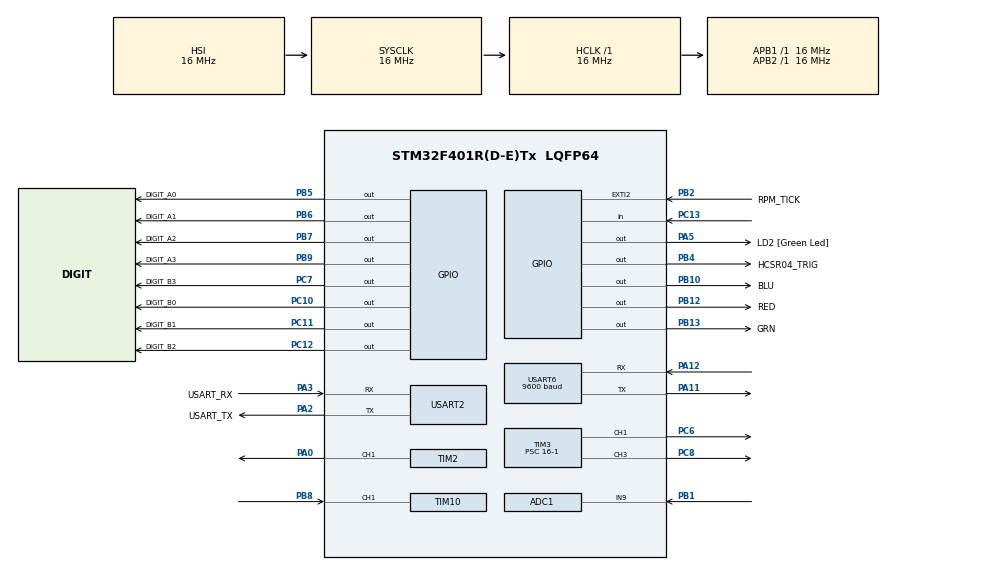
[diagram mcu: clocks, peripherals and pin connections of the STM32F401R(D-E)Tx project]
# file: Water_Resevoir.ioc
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ADC1.Channel-0\#ChannelRegularConversion=ADC_CHANNEL_9
ADC1.NbrOfConversionFlag=1
ADC1.Rank-0\#ChannelRegularConversion=1
ADC1.Resolution=ADC_RESOLUTION_8B
ADC1.SamplingTime-0\#ChannelRegularConversion=ADC_SAMPLETIME_15CYCLES
ADC1.ScanConvMode=ENABLE
ADC1.master=1
Mcu.Family=STM32F4
Mcu.Name=STM32F401R(D-E)Tx
Mcu.Package=LQFP64
NVIC.EXTI2_IRQn=true\:0\:0\:false\:false\:true\:true\:true\:true
NVIC.PriorityGroup=NVIC_PRIORITYGROUP_0
NVIC.TIM1_UP_TIM10_IRQn=true\:0\:0\:false\:false\:true\:true\:true\:true
NVIC.TIM5_IRQn=true\:0\:0\:false\:false\:true\:true\:true\:true
NVIC.USART6_IRQn=true\:0\:0\:false\:false\:true\:true\:true\:true
PA0-WKUP.Signal=S_TIM2_CH1_ETR
PA11.Mode=Asynchronous
PA11.Signal=USART6_TX
PA12.Mode=Asynchronous
PA12.Signal=USART6_RX
PA13.GPIO_Label=TMS
PA13.Mode=Serial_Wire
PA13.Signal=SYS_JTMS-SWDIO
PA14.GPIO_Label=TCK
PA14.Mode=Serial_Wire
PA14.Signal=SYS_JTCK-SWCLK
PA2.GPIO_Label=USART_TX
PA2.GPIO_Mode=GPIO_MODE_AF_PP
PA2.GPIO_PuPd=GPIO_NOPULL
PA2.GPIO_Speed=GPIO_SPEED_FREQ_LOW
PA2.Mode=Asynchronous
PA2.Signal=USART2_TX
PA3.GPIO_Label=USART_RX
PA3.GPIO_Mode=GPIO_MODE_AF_PP
PA3.GPIO_PuPd=GPIO_NOPULL
PA3.GPIO_Speed=GPIO_SPEED_FREQ_LOW
PA3.Mode=Asynchronous
PA3.Signal=USART2_RX
PA5.GPIO_Label=LD2 [Green Led]
PA5.GPIO_Mode=GPIO_MODE_OUTPUT_PP
PA5.GPIO_PuPd=GPIO_NOPULL
PA5.GPIO_Speed=GPIO_SPEED_FREQ_LOW
PA5.Signal=GPIO_Output
PB1.Signal=ADCx_IN9
PB10.GPIO_Label=BLU
PB10.Signal=GPIO_Output
PB12.GPIO_Label=RED
PB12.Signal=GPIO_Output
PB13.GPIO_Label=GRN
PB13.Signal=GPIO_Output
PB2.GPIO_Label=RPM_TICK
PB2.Signal=GPXTI2
PB3.GPIO_Label=SWO
PB3.Signal=SYS_JTDO-SWO
PB4.GPIO_Label=HCSR04_TRIG
PB4.Signal=GPIO_Output
PB5.GPIO_Label=DIGIT_A0
PB5.Signal=GPIO_Output
PB6.GPIO_Label=DIGIT_A1
PB6.Signal=GPIO_Output
PB7.GPIO_Label=DIGIT_A2
PB7.Signal=GPIO_Output
PB8.Signal=S_TIM10_CH1
PB9.GPIO_Label=DIGIT_A3
PB9.Signal=GPIO_Output
PC10.GPIO_Label=DIGIT_B0
PC10.Signal=GPIO_Output
PC11.GPIO_Label=DIGIT_B1
PC11.Signal=GPIO_Output
PC12.GPIO_Label=DIGIT_B2
PC12.Signal=GPIO_Output
PC13-ANTI_TAMP.Signal=GPIO_Input
PC14-OSC32_IN.Mode=LSE-External-Oscillator
PC14-OSC32_IN.Signal=RCC_OSC32_IN
PC15-OSC32_OUT.Mode=LSE-External-Oscillator
PC15-OSC32_OUT.Signal=RCC_OSC32_OUT
PC6.Signal=S_TIM3_CH1
PC7.GPIO_Label=DIGIT_B3
PC7.Signal=GPIO_Output
PC8.Signal=S_TIM3_CH3
PH0\ -\ OSC_IN.Mode=HSE-External-Clock-Source
PH0\ -\ OSC_IN.Signal=RCC_OSC_IN
PH1\ -\ OSC_OUT.Mode=HSE-External-Clock-Source
PH1\ -\ OSC_OUT.Signal=RCC_OSC_OUT
ProjectManager.HeapSize=0x200
ProjectManager.StackSize=0x400
ProjectManager.TargetToolchain=STM32CubeIDE
RCC.48MHZClocksFreq_Value=48000000
RCC.AHBFreq_Value=16000000
RCC.APB1Freq_Value=16000000
RCC.APB1TimFreq_Value=16000000
RCC.APB2Freq_Value=16000000
RCC.APB2TimFreq_Value=16000000
RCC.CortexFreq_Value=16000000
RCC.HCLKFreq_Value=16000000
RCC.HSE_VALUE=8000000
RCC.HSI_VALUE=16000000
RCC.PLLN=336
RCC.PLLP=RCC_PLLP_DIV4
RCC.PLLQ=7
RCC.SYSCLKFreq_VALUE=16000000
RCC.VCOOutputFreq_Value=336000000
SH.ADCx_IN9.0=ADC1_IN9,IN9
SH.S_TIM10_CH1.0=TIM10_CH1,Input_Capture1_from_TI1
SH.S_TIM2_CH1_ETR.0=TIM2_CH1,PWM Generation1 CH1
SH.S_TIM3_CH1.0=TIM3_CH1,PWM Generation1 CH1
SH.S_TIM3_CH3.0=TIM3_CH3,PWM Generation3 CH3
TIM10.Channel=TIM_CHANNEL_1
TIM10.ICPolarity_CH1=TIM_INPUTCHANNELPOLARITY_BOTHEDGE
TIM10.Prescaler=16-1
TIM2.AutoReloadPreload=TIM_AUTORELOAD_PRELOAD_ENABLE
TIM2.Channel-PWM\ Generation1\ CH1=TIM_CHANNEL_1
TIM2.Period=20000-1
TIM2.Prescaler=16-1
TIM2.Pulse-PWM\ Generation1\ CH1=500-1
TIM3.AutoReloadPreload=TIM_AUTORELOAD_PRELOAD_ENABLE
TIM3.Channel-PWM\ Generation1\ CH1=TIM_CHANNEL_1
TIM3.Channel-PWM\ Generation3\ CH3=TIM_CHANNEL_3
TIM3.Period=2000-1
TIM3.Prescaler=16-1
TIM3.Pulse-PWM\ Generation1\ CH1=1200-1
TIM5.AutoReloadPreload=TIM_AUTORELOAD_PRELOAD_ENABLE
TIM5.Period=1000-1
TIM5.Prescaler=53
USART2.VirtualMode=VM_ASYNC
USART6.BaudRate=9600
USART6.VirtualMode=VM_ASYNC
VP_TIM10_VS_ClockSourceINT.Mode=Enable_Timer
VP_TIM2_VS_ClockSourceINT.Mode=Internal
VP_TIM3_VS_ClockSourceINT.Mode=Internal
VP_TIM5_VS_ClockSourceINT.Mode=Internal
board=NUCLEO-F401RE

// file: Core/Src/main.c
/* USER CODE BEGIN Header */
/**
  ******************************************************************************
  * @file           : main.c
  * @brief          : Main program body
  ******************************************************************************
  * @attention
  *
  * Copyright (c) 2024 STMicroelectronics.
  * All rights reserved.
  *
  * This software is licensed under terms that can be found in the LICENSE file
  * in the root directory of this software component.
  * If no LICENSE file comes with this software, it is provided AS-IS.
  *
  ******************************************************************************
  */
/* USER CODE END Header */
#include "main.h"

/* USER CODE BEGIN Includes */
#include <string.h>
#include <stdio.h>
/* USER CODE END Includes */

/* USER CODE BEGIN PTD */
typedef enum {
    LED_OFF,
    LED_RED,
    LED_GREEN,
    LED_BLUE,
    LED_PURPLE
} LED_State;
/* USER CODE END PTD */

/* USER CODE BEGIN PD */
#define BUFFER_SIZE 512
#define TICKS_PER_REV 20
uint8_t byte;
/* USER CODE END PD */

ADC_HandleTypeDef hadc1;

TIM_HandleTypeDef htim2;
TIM_HandleTypeDef htim3;
TIM_HandleTypeDef htim5;
TIM_HandleTypeDef htim10;

UART_HandleTypeDef huart2;
UART_HandleTypeDef huart6;

/* USER CODE BEGIN PV */
char buffer[BUFFER_SIZE];
volatile int buffer_index = 0;
volatile uint8_t rcv_intpt_flag = 0;
uint8_t txd_msg_buffer[1024] = {0};
uint8_t rx_data;
volatile int wall_clock_hr_update_flag = 0;
volatile int rpm_tick_count = 0;

volatile int inlet_pwm, zone1_pwm, zone2_pwm, zone3_pwm;
volatile int inlet_start, inlet_stop, zone1_start, zone1_stop, zone2_start, zone2_stop, zone3_start, zone3_stop;
volatile int check_water_level = 0;
int current_water_level, current_motor_pwm, current_zone, current_motor_rpm, current_water_depth;

volatile uint8_t clock_hours = 0;
volatile uint8_t clock_mins = 0;
volatile uint8_t clock_secs = 0;

volatile uint8_t hcsr04_Rx_flag = 0;
volatile uint8_t first_edge = 0;
volatile uint16_t time_edge1 = 0;
volatile uint16_t time_edge2 = 0;
/* USER CODE END PV */

void SystemClock_Config(void);
static void MX_GPIO_Init(void);
static void MX_USART2_UART_Init(void);
static void MX_USART6_UART_Init(void);
static void MX_ADC1_Init(void);
static void MX_TIM2_Init(void);
static void MX_TIM3_Init(void);
static void MX_TIM10_Init(void);
static void MX_TIM5_Init(void);

/* USER CODE BEGIN 0 */
void DIGITS_Display(uint8_t DIGIT_A, uint8_t DIGIT_B)
{
	 uint8_t DIGITA_VAL = 0x0F & DIGIT_A; //mask off higher4 bits
	 int Abit0 = (DIGITA_VAL ) & 1;  	// extract Abit0 of the 4-bit value
	 int Abit1 = (DIGITA_VAL >> 1) & 1;  // extract Abit1 of the 4-bit value
	 int Abit2 = (DIGITA_VAL >> 2) & 1;  // extract Abit2 of the 4-bit value
	 int Abit3 = (DIGITA_VAL >> 3) & 1;  // extract Abit3 of the 4-bit value

	 uint8_t DIGITB_VAL = 0x0F & DIGIT_B; //mask off higher4 bits
	 int Bbit0 = (DIGITB_VAL ) & 1;  	// extract Bbit0 of the 4-bit value
	 int Bbit1 = (DIGITB_VAL >> 1) & 1;  // extract Bbit1 of the 4-bit value
	 int Bbit2 = (DIGITB_VAL >> 2) & 1;  // extract Bbit2 of the 4-bit value
	 int Bbit3 = (DIGITB_VAL >> 3) & 1;  // extract Bbit3 of the 4-bit value

	 if (Abit0 == (0))
	 {
		 HAL_GPIO_WritePin(GPIOB, DIGIT_A0_Pin, GPIO_PIN_RESET);
	 }
	 else
	 {
		 HAL_GPIO_WritePin(GPIOB, DIGIT_A0_Pin, GPIO_PIN_SET);

	 }
	 if (Abit1 == (0))
	 {
		 HAL_GPIO_WritePin(GPIOB, DIGIT_A1_Pin, GPIO_PIN_RESET);
	 }
	 else
	 {
		 HAL_GPIO_WritePin(GPIOB, DIGIT_A1_Pin, GPIO_PIN_SET);

	 }
	 if (Abit2 == (0))
	 {
		 HAL_GPIO_WritePin(GPIOB, DIGIT_A2_Pin, GPIO_PIN_RESET);
	 }
	 else
	 {
		 HAL_GPIO_WritePin(GPIOB, DIGIT_A2_Pin, GPIO_PIN_SET);

	 }
	 if (Abit3 == (0))
	 {
		 HAL_GPIO_WritePin(GPIOB, DIGIT_A3_Pin, GPIO_PIN_RESET);
	 }
	 else
	 {
		 HAL_GPIO_WritePin(GPIOB, DIGIT_A3_Pin, GPIO_PIN_SET);

	 }

	 if (Bbit0 == (0))
	 {
		 HAL_GPIO_WritePin(GPIOC, DIGIT_B0_Pin, GPIO_PIN_RESET);
	 }
	 else
	 {
		 HAL_GPIO_WritePin(GPIOC, DIGIT_B0_Pin, GPIO_PIN_SET);

	 }
	 if (Bbit1 == (0))
	 {
		 HAL_GPIO_WritePin(GPIOC, DIGIT_B1_Pin, GPIO_PIN_RESET);
	 }
	 else
	 {
		 HAL_GPIO_WritePin(GPIOC, DIGIT_B1_Pin, GPIO_PIN_SET);

	 }
	 if (Bbit2 == (0))
	 {
		 HAL_GPIO_WritePin(GPIOC, DIGIT_B2_Pin, GPIO_PIN_RESET);
	 }
	 else
	 {
		 HAL_GPIO_WritePin(GPIOC, DIGIT_B2_Pin, GPIO_PIN_SET);

	 }
	 if (Bbit3 == (0))
	 {
		 HAL_GPIO_WritePin(GPIOC, DIGIT_B3_Pin, GPIO_PIN_RESET);
	 }
	 else
	 {
		 HAL_GPIO_WritePin(GPIOC, DIGIT_B3_Pin, GPIO_PIN_SET);

	 }
}

void HCSR04_TRIG_PULSE(void) {
	HAL_GPIO_WritePin(HCSR04_TRIG_GPIO_Port, HCSR04_TRIG_Pin, GPIO_PIN_SET);
	for (int j = 0; j != 15; ++j) {};
	HAL_GPIO_WritePin(HCSR04_TRIG_GPIO_Port, HCSR04_TRIG_Pin, GPIO_PIN_RESET);
}

void prompt_and_receive(const char *prompt, volatile int *value) {
  HAL_UART_Transmit(&huart6, (uint8_t *)prompt, strlen(prompt), HAL_MAX_DELAY);
  rcv_intpt_flag = 0;
  while (!rcv_intpt_flag); // Wait for input
  sscanf(buffer, "%d", value); // load value with the inputed characters
}

void print_terminal(char *text) {
	sprintf((char *) txd_msg_buffer, text);
    HAL_UART_Transmit(&huart6, txd_msg_buffer, strlen((char *)txd_msg_buffer), 100);
}

void display_water_level(int level) {
	int tens = level / 10;
	int ones = level % 10;

	DIGITS_Display(tens, ones);
}

void convert_option_to_pwm(int *pipe) {
	if (*pipe == 0) {
		*pipe = 0;
	} else if (*pipe == 1) {
		*pipe = 70;
	} else if (*pipe == 2) {
		*pipe = 85;
	} else if (*pipe == 3) {
		*pipe = 99;
	}
}

void setLEDState(LED_State state) {
    // Turn off all LEDs first
    HAL_GPIO_WritePin(GPIOB, RED_Pin, GPIO_PIN_RESET);  // RED
    HAL_GPIO_WritePin(GPIOB, GRN_Pin, GPIO_PIN_RESET);  // GRN
    HAL_GPIO_WritePin(GPIOB, BLU_Pin, GPIO_PIN_RESET);  // BLU

    // Set the desired state
    switch (state) {
        case LED_OFF:
            break;
        case LED_RED:
            HAL_GPIO_WritePin(GPIOB, RED_Pin, GPIO_PIN_SET);  // RED on
            break;
        case LED_GREEN:
            HAL_GPIO_WritePin(GPIOB, GRN_Pin, GPIO_PIN_SET);  // GREEN on
            break;
        case LED_BLUE:
            HAL_GPIO_WritePin(GPIOB, BLU_Pin, GPIO_PIN_SET);  // BLUE on
            break;
        case LED_PURPLE:
            HAL_GPIO_WritePin(GPIOB, RED_Pin, GPIO_PIN_SET);  // RED on
            HAL_GPIO_WritePin(GPIOB, BLU_Pin, GPIO_PIN_SET);  // BLUE on
            break;
        default:
            break;
    }
}

void ADC_Select_CH(int CH) {
	ADC_ChannelConfTypeDef sConfig = {0};
	switch(CH)
	{
	case 0:
	sConfig.Channel = ADC_CHANNEL_0;
	sConfig.Rank = 1;
	if (HAL_ADC_ConfigChannel(&hadc1, &sConfig) != HAL_OK)
	{
	Error_Handler();
	}
	break;
	case 1:
	sConfig.Channel = ADC_CHANNEL_1;
	sConfig.Rank = 1;
	if (HAL_ADC_ConfigChannel(&hadc1, &sConfig) != HAL_OK)
	{
	Error_Handler();
	}
	break;
	case 2:
	sConfig.Channel = ADC_CHANNEL_2;
	sConfig.Rank = 1;
	if (HAL_ADC_ConfigChannel(&hadc1, &sConfig) != HAL_OK)
	{
	Error_Handler();
	}
	break;
	case 3:
	sConfig.Channel = ADC_CHANNEL_3;
	sConfig.Rank = 1;
	if (HAL_ADC_ConfigChannel(&hadc1, &sConfig) != HAL_OK)
	{
	Error_Handler();
	}
	break;
	case 4:
	sConfig.Channel = ADC_CHANNEL_4;
	sConfig.Rank = 1;
	if (HAL_ADC_ConfigChannel(&hadc1, &sConfig) != HAL_OK)
	{
	Error_Handler();
	}
	break;
	case 5:
	sConfig.Channel = ADC_CHANNEL_5;
	sConfig.Rank = 1;
	if (HAL_ADC_ConfigChannel(&hadc1, &sConfig) != HAL_OK)
	{
	Error_Handler();
	}
	break;
	case 6:
	sConfig.Channel = ADC_CHANNEL_6;
	sConfig.Rank = 1;
	if (HAL_ADC_ConfigChannel(&hadc1, &sConfig) != HAL_OK)
	{
	Error_Handler();
	}
	break;
	case 7:
	sConfig.Channel = ADC_CHANNEL_7;
	sConfig.Rank = 1;
	if (HAL_ADC_ConfigChannel(&hadc1, &sConfig) != HAL_OK)
	{
	Error_Handler();
	}
	break;
	case 8:
	sConfig.Channel = ADC_CHANNEL_8;
	sConfig.Rank = 1;
	if (HAL_ADC_ConfigChannel(&hadc1, &sConfig) != HAL_OK)
	{
	Error_Handler();
	}
	break;
	case 9:
	sConfig.Channel = ADC_CHANNEL_9;
	sConfig.Rank = 1;
	if (HAL_ADC_ConfigChannel(&hadc1, &sConfig) != HAL_OK)
	{
	Error_Handler();
	}
	break;
	case 10:
	sConfig.Channel = ADC_CHANNEL_10;
	sConfig.Rank = 1;
	if (HAL_ADC_ConfigChannel(&hadc1, &sConfig) != HAL_OK)
	{
	Error_Handler();
	}
	break;
	case 11:
	sConfig.Channel = ADC_CHANNEL_11;
	sConfig.Rank = 1;
	if (HAL_ADC_ConfigChannel(&hadc1, &sConfig) != HAL_OK)
	{
	Error_Handler();
	}
	break;
	case 12:
	sConfig.Channel = ADC_CHANNEL_12;
	sConfig.Rank = 1;
	if (HAL_ADC_ConfigChannel(&hadc1, &sConfig) != HAL_OK)
	{
	Error_Handler();
	}
	break;
	case 13:
	sConfig.Channel = ADC_CHANNEL_13;
	sConfig.Rank = 1;
	if (HAL_ADC_ConfigChannel(&hadc1, &sConfig) != HAL_OK)
	{
	Error_Handler();
	}
	break;
	case 14:
	sConfig.Channel = ADC_CHANNEL_14;
	sConfig.Rank = 1;
	if (HAL_ADC_ConfigChannel(&hadc1, &sConfig) != HAL_OK)
	{
	Error_Handler();
	}
	break;
	case 15:
	sConfig.Channel = ADC_CHANNEL_15;
	sConfig.Rank = 1;
	if (HAL_ADC_ConfigChannel(&hadc1, &sConfig) != HAL_OK)
	{
	Error_Handler();
	}
	break;
	}
}
/* USER CODE END 0 */

int main(void)
{

  /* USER CODE BEGIN 1 */
	// Servo
	int TIM2_Ch1_DCVAL = 500;
	int TIM2_Ch1_STEP = 20;
  /* USER CODE END 1 */

  /* MCU Configuration--------------------------------------------------------*/

  /* Reset of all peripherals, Initializes the Flash interface and the Systick. */
  HAL_Init();

  /* Configure the system clock */
  SystemClock_Config();

  /* Initialize all configured peripherals */
  MX_GPIO_Init();
  MX_USART2_UART_Init();
  MX_USART6_UART_Init();
  MX_ADC1_Init();
  MX_TIM2_Init();
  MX_TIM3_Init();
  MX_TIM10_Init();
  MX_TIM5_Init();
  /* USER CODE BEGIN 2 */
  HAL_TIM_Base_Init(&htim3);
  HAL_TIM_PWM_Start(&htim3, TIM_CHANNEL_1);
  HAL_TIM_PWM_Start(&htim3, TIM_CHANNEL_3);
  HAL_TIM_Base_Start(&htim2);
  TIM2->PSC = 16-1;
  TIM2->ARR = 20000-1;
  TIM2->CCR1 = TIM2_Ch1_DCVAL;
  HAL_TIM_PWM_Start(&htim2, TIM_CHANNEL_1);
  HAL_TIM_Base_Init(&htim10);
  HAL_TIM_Base_Start(&htim10);
  HAL_TIM_IC_Start_IT(&htim10, TIM_CHANNEL_1);
  HAL_TIM_Base_Start_IT(&htim5);

  // HCSR04
  uint16_t time_diff = 0;
  uint16_t distance = 0;
  uint16_t empty_distance = 10; // cm
  uint16_t full_distance = 50; // cm
  int empty = 0;

  int pump_not_running = 0;

  // Setup mode operations
  HAL_GPIO_WritePin(GPIOA, LD2_Pin, GPIO_PIN_RESET);
  TIM3->CCR1 = 0;
  TIM3->CCR3 = 0;

  // Clear terminal
  print_terminal("\033[2J\033[H");

  print_terminal("SETUP MODE \r\n");

  HAL_UART_Receive_IT(&huart6, &rx_data, 1);
  prompt_and_receive("Inlet Pump PWM (options: 0 to 3): ", &inlet_pwm);
  prompt_and_receive("Pump 1 PWM (options: 0 to 3): ", &zone1_pwm);
  prompt_and_receive("Pump 2 PWM (options: 0 to 3): ", &zone2_pwm);
  prompt_and_receive("Pump 3 PWM (options: 0 to 3): ", &zone3_pwm);
  prompt_and_receive("Pipeline 0  Pump FIRST HOUR (options: 00-23): ", &inlet_start);
  prompt_and_receive("Pipeline 0  Pump LAST HOUR (options: 00-23): ", &inlet_stop);
  prompt_and_receive("Pipeline 1  Pump FIRST HOUR (options: 00-23): ", &zone1_start);
  prompt_and_receive("Pipeline 1  Pump LAST HOUR (options: 00-23): ", &zone1_stop);
  prompt_and_receive("Pipeline 2  Pump FIRST HOUR (options: 00-23): ", &zone2_start);
  prompt_and_receive("Pipeline 2  Pump LAST HOUR (options: 00-23): ", &zone2_stop);
  prompt_and_receive("Pipeline 3  Pump FIRST HOUR (options: 00-23): ", &zone3_start);
  prompt_and_receive("Pipeline 3  Pump LAST HOUR (options: 00-23): ", &zone3_stop);

  convert_option_to_pwm(&inlet_pwm);
  convert_option_to_pwm(&zone1_pwm);
  convert_option_to_pwm(&zone2_pwm);
  convert_option_to_pwm(&zone3_pwm);

  sprintf(txd_msg_buffer, "\nPrinting SETUP Parameters \r\n\n");
  HAL_UART_Transmit(&huart6, (uint8_t*)txd_msg_buffer, strlen(txd_msg_buffer), HAL_MAX_DELAY);
  if (inlet_pwm == 0) {
	  sprintf(txd_msg_buffer, "PIPELINE: INLET	Pump PWM: Manual Control	Pump FIRST HOUR: %d	Pump LAST HOUR: %d\r\n", inlet_start, inlet_stop);
  } else {
	  sprintf(txd_msg_buffer, "PIPELINE: INLET	Pump PWM: %d	Pump FIRST HOUR: %d	Pump LAST HOUR: %d\r\n", inlet_pwm, inlet_start, inlet_stop);
  }
  HAL_UART_Transmit(&huart6, (uint8_t*)txd_msg_buffer, strlen(txd_msg_buffer), HAL_MAX_DELAY);
  if (zone1_pwm == 0) {
	  sprintf(txd_msg_buffer, "PIPELINE: 1	Pump PWM: Manual Control	Pump FIRST HOUR: %d	Pump LAST HOUR: %d\r\n", zone1_start, zone1_stop);
  } else {
	  sprintf(txd_msg_buffer, "PIPELINE: 1	Pump PWM: %d	Pump FIRST HOUR: %d	Pump LAST HOUR: %d\r\n", zone1_pwm, zone1_start, zone1_stop);
  }
  HAL_UART_Transmit(&huart6, (uint8_t*)txd_msg_buffer, strlen(txd_msg_buffer), HAL_MAX_DELAY);
  if (zone2_pwm == 0) {
	  sprintf(txd_msg_buffer, "PIPELINE: 2	Pump PWM: Manual Control	Pump FIRST HOUR: %d	Pump LAST HOUR: %d\r\n",  zone2_start, zone2_stop);
  } else {
	  sprintf(txd_msg_buffer, "PIPELINE: 2	Pump PWM: %d	Pump FIRST HOUR: %d	Pump LAST HOUR: %d\r\n",  zone2_pwm, zone2_start, zone2_stop);
  }
  HAL_UART_Transmit(&huart6, (uint8_t*)txd_msg_buffer, strlen(txd_msg_buffer), HAL_MAX_DELAY);
  if (zone3_pwm == 0) {
	  sprintf(txd_msg_buffer, "PIPELINE: 3	Pump PWM: Manual Control	Pump FIRST HOUR: %d	Pump LAST HOUR: %d\r\n", zone3_start, zone3_stop);
  } else {
	  sprintf(txd_msg_buffer, "PIPELINE: 3	Pump PWM: %d	Pump FIRST HOUR: %d	Pump LAST HOUR: %d\r\n", zone3_pwm, zone3_start, zone3_stop);
  }

  HAL_UART_Transmit(&huart6, (uint8_t*)txd_msg_buffer, strlen(txd_msg_buffer), HAL_MAX_DELAY);
  HAL_UART_Transmit(&huart6, "\r\n\n", 2, HAL_MAX_DELAY);
  HAL_UART_Transmit(&huart6, "SETUP is done. Press Blue Button for RUN MODE \r\n\n", 46, HAL_MAX_DELAY);

  while (1) {
	  // Toggle MCU LED
	  HAL_GPIO_TogglePin(GPIOA, LD2_Pin);
	  HAL_Delay(500);

	  // Check for button press
	  if (HAL_GPIO_ReadPin(GPIOC, GPIO_PIN_13) == 0) {
		  break;
	  }
  }

  // Run mode
  print_terminal("\r\n\nRUN MODE \r\n");
  HAL_GPIO_WritePin(GPIOA, LD2_Pin, GPIO_PIN_SET);

  clock_hours = 0;
  clock_mins = 0;
  clock_secs = 0;

  print_terminal("WALL CLOCK (hr):, ZONE/INLET:, MOTOR Speed %% PWM:, MOTOR RPM:, WATER DEPTH (%%):\r\n");
  /* USER CODE END 2 */

  /* Infinite loop */
  /* USER CODE BEGIN WHILE */
  while (1)
  {
	  if (clock_hours == 24) {
		  break;
	  }
	  if (clock_mins == 0) {
		  pump_not_running = 0;
		  rpm_tick_count = 0;
	  } else if (clock_mins == 15) {
		  rpm_tick_count = 0;
	  } else if (clock_mins == 55) {
		  current_motor_rpm = rpm_tick_count / TICKS_PER_REV * 60 / 8;
	  } else if (clock_mins == 59) {
		  if (pump_not_running) {
			  sprintf(txd_msg_buffer, "     %d                                                  %d              %d \r\n", clock_hours, current_motor_rpm, current_water_depth);
		  } else {
			  sprintf(txd_msg_buffer, "     %d               %d              %d                 %d              %d \r\n", clock_hours, current_zone, current_motor_pwm, current_motor_rpm, current_water_depth);
		  }
		  HAL_UART_Transmit(&huart6, (uint8_t*)txd_msg_buffer, strlen(txd_msg_buffer), HAL_MAX_DELAY);
	  }
	  hcsr04_Rx_flag = 0;
	  first_edge = 0;
	  time_edge1 = 0;
	  time_edge2 = 0;
	  time_diff = 0;
	  distance = 0;

	  HCSR04_TRIG_PULSE();

	  while(hcsr04_Rx_flag == 0) {};

	  time_diff = time_edge2 - time_edge1;
	  distance = time_diff / 58;

	  current_water_depth = (distance - empty_distance) * 100 / full_distance;

	  if (current_water_depth >= full_distance) {
		  current_water_depth = 99;
	  }

	  display_water_level(current_water_depth);

	  // Special case: reservoir is empty
	  if (distance <= empty_distance) {
		  empty = 1;
		  break;
	  }

	  // Check current pipe
	  if (clock_hours >= inlet_start && clock_hours <= inlet_stop) {
		  setLEDState(LED_PURPLE);
		  current_zone = 0;
		  pump_not_running = 0;
		  TIM2->CCR1 = 500;
	  } else if (clock_hours >= zone1_start && clock_hours <= zone1_stop) {
		  setLEDState(LED_RED);
		  current_zone = 1;
		  pump_not_running = 0;
		  TIM2->CCR1 = 1300;
	  } else if (clock_hours >= zone2_start && clock_hours <= zone2_stop) {
		  setLEDState(LED_GREEN);
		  current_zone = 2;
		  pump_not_running = 0;
		  TIM2->CCR1 = 1900;
	  } else if (clock_hours >= zone3_start && clock_hours <= zone3_stop) {
		  setLEDState(LED_BLUE);
		  current_zone = 3;
		  pump_not_running = 0;
		  TIM2->CCR1 = 2500;
	  } else {
		  // Pump is not to run
		  setLEDState(LED_OFF);
		  pump_not_running = 1;
	  }

	  // Manual control for PWM
	  if ((inlet_pwm == 0 && current_zone == 0) || (zone1_pwm == 0 && current_zone == 1) || (zone2_pwm == 0 && current_zone == 2) || (zone3_pwm == 0 && current_zone == 3)) {
		  // Read ADC
		  ADC_Select_CH(9);
		  HAL_ADC_Start(&hadc1);
		  HAL_ADC_PollForConversion(&hadc1, 1000);
		  int ADC_CH9 = HAL_ADC_GetValue(&hadc1);
		  HAL_ADC_Stop(&hadc1);

		  current_motor_pwm = ADC_CH9 * 100 / 255;
	  } else {
		  if (current_zone == 0) {
			  current_motor_pwm = inlet_pwm;
		  } else if (current_zone == 1) {
			  current_motor_pwm = zone1_pwm;
		  } else if (current_zone == 2) {
			  current_motor_pwm = zone2_pwm;
		  } else if (current_zone == 3) {
			  current_motor_pwm = zone3_pwm;
		  }
	  }
	  if (current_zone == 0 && !pump_not_running) {
		  unsigned long speed = current_motor_pwm * 60000 / 100;
		  TIM3->CCR1 = 0;
		  TIM3->CCR3 = speed;
	  } else if (current_zone != 0 && !pump_not_running) {
		  unsigned long speed = current_motor_pwm * 60000 / 100;
		  TIM3->CCR1 = speed;
		  TIM3->CCR3 = 0;
	  } else {
		  TIM3->CCR1 = 0;
		  TIM3->CCR3 = 0;
	  }

	  HAL_Delay(200);
    /* USER CODE END WHILE */

    /* USER CODE BEGIN 3 */
  }
  if (empty) {
	  // Resolve special case
	  print_terminal("\r\n\n RESERVOIR IS EMPTY\r\n");
	  HAL_GPIO_WritePin(GPIOA, LD2_Pin, GPIO_PIN_RESET);

	  TIM3->CCR1 = 0;
	  TIM3->CCR3 = 0;
	  while (1) {
		  HAL_GPIO_WritePin(GPIOB, RED_Pin, GPIO_PIN_SET);  // RED
		  HAL_GPIO_WritePin(GPIOB, GRN_Pin, GPIO_PIN_SET);  // GRN
		  HAL_GPIO_WritePin(GPIOB, BLU_Pin, GPIO_PIN_SET);  // BLU
		  HAL_Delay(500);

		  HAL_GPIO_WritePin(GPIOB, RED_Pin, GPIO_PIN_RESET);  // RED
		  HAL_GPIO_WritePin(GPIOB, GRN_Pin, GPIO_PIN_RESET);  // GRN
		  HAL_GPIO_WritePin(GPIOB, BLU_Pin, GPIO_PIN_RESET);  // BLU
		  HAL_Delay(500);
	  }
  } else {
	  TIM3->CCR1 = 0;
	  TIM3->CCR3 = 0;
	  setLEDState(LED_OFF);
  }
  /* USER CODE END 3 */
}

void SystemClock_Config(void)
{
  RCC_OscInitTypeDef RCC_OscInitStruct = {0};
  RCC_ClkInitTypeDef RCC_ClkInitStruct = {0};

  /** Configure the main internal regulator output voltage
  */
  __HAL_RCC_PWR_CLK_ENABLE();
  __HAL_PWR_VOLTAGESCALING_CONFIG(PWR_REGULATOR_VOLTAGE_SCALE2);

  /** Initializes the RCC Oscillators according to the specified parameters
  * in the RCC_OscInitTypeDef structure.
  */
  RCC_OscInitStruct.OscillatorType = RCC_OSCILLATORTYPE_HSI;
  RCC_OscInitStruct.HSIState = RCC_HSI_ON;
  RCC_OscInitStruct.HSICalibrationValue = RCC_HSICALIBRATION_DEFAULT;
  RCC_OscInitStruct.PLL.PLLState = RCC_PLL_NONE;
  if (HAL_RCC_OscConfig(&RCC_OscInitStruct) != HAL_OK)
  {
    Error_Handler();
  }

  /** Initializes the CPU, AHB and APB buses clocks
  */
  RCC_ClkInitStruct.ClockType = RCC_CLOCKTYPE_HCLK|RCC_CLOCKTYPE_SYSCLK
                              |RCC_CLOCKTYPE_PCLK1|RCC_CLOCKTYPE_PCLK2;
  RCC_ClkInitStruct.SYSCLKSource = RCC_SYSCLKSOURCE_HSI;
  RCC_ClkInitStruct.AHBCLKDivider = RCC_SYSCLK_DIV1;
  RCC_ClkInitStruct.APB1CLKDivider = RCC_HCLK_DIV1;
  RCC_ClkInitStruct.APB2CLKDivider = RCC_HCLK_DIV1;

  if (HAL_RCC_ClockConfig(&RCC_ClkInitStruct, FLASH_LATENCY_0) != HAL_OK)
  {
    Error_Handler();
  }
}

static void MX_ADC1_Init(void)
{

  ADC_ChannelConfTypeDef sConfig = {0};

  /** Configure the global features of the ADC (Clock, Resolution, Data Alignment and number of conversion)
  */
  hadc1.Instance = ADC1;
  hadc1.Init.ClockPrescaler = ADC_CLOCK_SYNC_PCLK_DIV2;
  hadc1.Init.Resolution = ADC_RESOLUTION_8B;
  hadc1.Init.ScanConvMode = ENABLE;
  hadc1.Init.ContinuousConvMode = DISABLE;
  hadc1.Init.DiscontinuousConvMode = DISABLE;
  hadc1.Init.ExternalTrigConvEdge = ADC_EXTERNALTRIGCONVEDGE_NONE;
  hadc1.Init.ExternalTrigConv = ADC_SOFTWARE_START;
  hadc1.Init.DataAlign = ADC_DATAALIGN_RIGHT;
  hadc1.Init.NbrOfConversion = 1;
  hadc1.Init.DMAContinuousRequests = DISABLE;
  hadc1.Init.EOCSelection = ADC_EOC_SINGLE_CONV;
  if (HAL_ADC_Init(&hadc1) != HAL_OK)
  {
    Error_Handler();
  }

  /** Configure for the selected ADC regular channel its corresponding rank in the sequencer and its sample time.
  */
  sConfig.Channel = ADC_CHANNEL_9;
  sConfig.Rank = 1;
  sConfig.SamplingTime = ADC_SAMPLETIME_15CYCLES;
  if (HAL_ADC_ConfigChannel(&hadc1, &sConfig) != HAL_OK)
  {
    Error_Handler();
  }

}

static void MX_TIM2_Init(void)
{

  TIM_ClockConfigTypeDef sClockSourceConfig = {0};
  TIM_MasterConfigTypeDef sMasterConfig = {0};
  TIM_OC_InitTypeDef sConfigOC = {0};

  htim2.Instance = TIM2;
  htim2.Init.Prescaler = 16-1;
  htim2.Init.CounterMode = TIM_COUNTERMODE_UP;
  htim2.Init.Period = 20000-1;
  htim2.Init.ClockDivision = TIM_CLOCKDIVISION_DIV1;
  htim2.Init.AutoReloadPreload = TIM_AUTORELOAD_PRELOAD_ENABLE;
  if (HAL_TIM_Base_Init(&htim2) != HAL_OK)
  {
    Error_Handler();
  }
  sClockSourceConfig.ClockSource = TIM_CLOCKSOURCE_INTERNAL;
  if (HAL_TIM_ConfigClockSource(&htim2, &sClockSourceConfig) != HAL_OK)
  {
    Error_Handler();
  }
  if (HAL_TIM_PWM_Init(&htim2) != HAL_OK)
  {
    Error_Handler();
  }
  sMasterConfig.MasterOutputTrigger = TIM_TRGO_RESET;
  sMasterConfig.MasterSlaveMode = TIM_MASTERSLAVEMODE_DISABLE;
  if (HAL_TIMEx_MasterConfigSynchronization(&htim2, &sMasterConfig) != HAL_OK)
  {
    Error_Handler();
  }
  sConfigOC.OCMode = TIM_OCMODE_PWM1;
  sConfigOC.Pulse = 500-1;
  sConfigOC.OCPolarity = TIM_OCPOLARITY_HIGH;
  sConfigOC.OCFastMode = TIM_OCFAST_DISABLE;
  if (HAL_TIM_PWM_ConfigChannel(&htim2, &sConfigOC, TIM_CHANNEL_1) != HAL_OK)
  {
    Error_Handler();
  }
  HAL_TIM_MspPostInit(&htim2);

}

static void MX_TIM3_Init(void)
{

  TIM_ClockConfigTypeDef sClockSourceConfig = {0};
  TIM_MasterConfigTypeDef sMasterConfig = {0};
  TIM_OC_InitTypeDef sConfigOC = {0};

  htim3.Instance = TIM3;
  htim3.Init.Prescaler = 16-1;
  htim3.Init.CounterMode = TIM_COUNTERMODE_UP;
  htim3.Init.Period = 2000-1;
  htim3.Init.ClockDivision = TIM_CLOCKDIVISION_DIV1;
  htim3.Init.AutoReloadPreload = TIM_AUTORELOAD_PRELOAD_ENABLE;
  if (HAL_TIM_Base_Init(&htim3) != HAL_OK)
  {
    Error_Handler();
  }
  sClockSourceConfig.ClockSource = TIM_CLOCKSOURCE_INTERNAL;
  if (HAL_TIM_ConfigClockSource(&htim3, &sClockSourceConfig) != HAL_OK)
  {
    Error_Handler();
  }
  if (HAL_TIM_PWM_Init(&htim3) != HAL_OK)
  {
    Error_Handler();
  }
  sMasterConfig.MasterOutputTrigger = TIM_TRGO_RESET;
  sMasterConfig.MasterSlaveMode = TIM_MASTERSLAVEMODE_DISABLE;
  if (HAL_TIMEx_MasterConfigSynchronization(&htim3, &sMasterConfig) != HAL_OK)
  {
    Error_Handler();
  }
  sConfigOC.OCMode = TIM_OCMODE_PWM1;
  sConfigOC.Pulse = 1200-1;
  sConfigOC.OCPolarity = TIM_OCPOLARITY_HIGH;
  sConfigOC.OCFastMode = TIM_OCFAST_DISABLE;
  if (HAL_TIM_PWM_ConfigChannel(&htim3, &sConfigOC, TIM_CHANNEL_1) != HAL_OK)
  {
    Error_Handler();
  }
  sConfigOC.Pulse = 0;
  if (HAL_TIM_PWM_ConfigChannel(&htim3, &sConfigOC, TIM_CHANNEL_3) != HAL_OK)
  {
    Error_Handler();
  }
  HAL_TIM_MspPostInit(&htim3);

}

static void MX_TIM5_Init(void)
{

  TIM_ClockConfigTypeDef sClockSourceConfig = {0};
  TIM_MasterConfigTypeDef sMasterConfig = {0};

  htim5.Instance = TIM5;
  htim5.Init.Prescaler = 53;
  htim5.Init.CounterMode = TIM_COUNTERMODE_UP;
  htim5.Init.Period = 1000-1;
  htim5.Init.ClockDivision = TIM_CLOCKDIVISION_DIV1;
  htim5.Init.AutoReloadPreload = TIM_AUTORELOAD_PRELOAD_ENABLE;
  if (HAL_TIM_Base_Init(&htim5) != HAL_OK)
  {
    Error_Handler();
  }
  sClockSourceConfig.ClockSource = TIM_CLOCKSOURCE_INTERNAL;
  if (HAL_TIM_ConfigClockSource(&htim5, &sClockSourceConfig) != HAL_OK)
  {
    Error_Handler();
  }
  sMasterConfig.MasterOutputTrigger = TIM_TRGO_RESET;
  sMasterConfig.MasterSlaveMode = TIM_MASTERSLAVEMODE_DISABLE;
  if (HAL_TIMEx_MasterConfigSynchronization(&htim5, &sMasterConfig) != HAL_OK)
  {
    Error_Handler();
  }

}

static void MX_TIM10_Init(void)
{

  TIM_IC_InitTypeDef sConfigIC = {0};

  htim10.Instance = TIM10;
  htim10.Init.Prescaler = 16-1;
  htim10.Init.CounterMode = TIM_COUNTERMODE_UP;
  htim10.Init.Period = 65535;
  htim10.Init.ClockDivision = TIM_CLOCKDIVISION_DIV1;
  htim10.Init.AutoReloadPreload = TIM_AUTORELOAD_PRELOAD_DISABLE;
  if (HAL_TIM_Base_Init(&htim10) != HAL_OK)
  {
    Error_Handler();
  }
  if (HAL_TIM_IC_Init(&htim10) != HAL_OK)
  {
    Error_Handler();
  }
  sConfigIC.ICPolarity = TIM_INPUTCHANNELPOLARITY_BOTHEDGE;
  sConfigIC.ICSelection = TIM_ICSELECTION_DIRECTTI;
  sConfigIC.ICPrescaler = TIM_ICPSC_DIV1;
  sConfigIC.ICFilter = 0;
  if (HAL_TIM_IC_ConfigChannel(&htim10, &sConfigIC, TIM_CHANNEL_1) != HAL_OK)
  {
    Error_Handler();
  }

}

static void MX_USART2_UART_Init(void)
{

  huart2.Instance = USART2;
  huart2.Init.BaudRate = 115200;
  huart2.Init.WordLength = UART_WORDLENGTH_8B;
  huart2.Init.StopBits = UART_STOPBITS_1;
  huart2.Init.Parity = UART_PARITY_NONE;
  huart2.Init.Mode = UART_MODE_TX_RX;
  huart2.Init.HwFlowCtl = UART_HWCONTROL_NONE;
  huart2.Init.OverSampling = UART_OVERSAMPLING_16;
  if (HAL_UART_Init(&huart2) != HAL_OK)
  {
    Error_Handler();
  }

}

static void MX_USART6_UART_Init(void)
{

  huart6.Instance = USART6;
  huart6.Init.BaudRate = 9600;
  huart6.Init.WordLength = UART_WORDLENGTH_8B;
  huart6.Init.StopBits = UART_STOPBITS_1;
  huart6.Init.Parity = UART_PARITY_NONE;
  huart6.Init.Mode = UART_MODE_TX_RX;
  huart6.Init.HwFlowCtl = UART_HWCONTROL_NONE;
  huart6.Init.OverSampling = UART_OVERSAMPLING_16;
  if (HAL_UART_Init(&huart6) != HAL_OK)
  {
    Error_Handler();
  }

}

static void MX_GPIO_Init(void)
{
  GPIO_InitTypeDef GPIO_InitStruct = {0};

  /* GPIO Ports Clock Enable */
  __HAL_RCC_GPIOC_CLK_ENABLE();
  __HAL_RCC_GPIOH_CLK_ENABLE();
  __HAL_RCC_GPIOA_CLK_ENABLE();
  __HAL_RCC_GPIOB_CLK_ENABLE();

  /*Configure GPIO pin Output Level */
  HAL_GPIO_WritePin(LD2_GPIO_Port, LD2_Pin, GPIO_PIN_RESET);

  /*Configure GPIO pin Output Level */
  HAL_GPIO_WritePin(GPIOB, BLU_Pin|RED_Pin|GRN_Pin|HCSR04_TRIG_Pin
                          |DIGIT_A0_Pin|DIGIT_A1_Pin|DIGIT_A2_Pin|DIGIT_A3_Pin, GPIO_PIN_RESET);

  /*Configure GPIO pin Output Level */
  HAL_GPIO_WritePin(GPIOC, DIGIT_B3_Pin|DIGIT_B0_Pin|DIGIT_B1_Pin|DIGIT_B2_Pin, GPIO_PIN_RESET);

  /*Configure GPIO pin : PC13 */
  GPIO_InitStruct.Pin = GPIO_PIN_13;
  GPIO_InitStruct.Mode = GPIO_MODE_INPUT;
  GPIO_InitStruct.Pull = GPIO_NOPULL;
  HAL_GPIO_Init(GPIOC, &GPIO_InitStruct);

  /*Configure GPIO pin : LD2_Pin */
  GPIO_InitStruct.Pin = LD2_Pin;
  GPIO_InitStruct.Mode = GPIO_MODE_OUTPUT_PP;
  GPIO_InitStruct.Pull = GPIO_NOPULL;
  GPIO_InitStruct.Speed = GPIO_SPEED_FREQ_LOW;
  HAL_GPIO_Init(LD2_GPIO_Port, &GPIO_InitStruct);

  /*Configure GPIO pin : RPM_TICK_Pin */
  GPIO_InitStruct.Pin = RPM_TICK_Pin;
  GPIO_InitStruct.Mode = GPIO_MODE_IT_RISING;
  GPIO_InitStruct.Pull = GPIO_NOPULL;
  HAL_GPIO_Init(RPM_TICK_GPIO_Port, &GPIO_InitStruct);

  /*Configure GPIO pins : BLU_Pin RED_Pin GRN_Pin HCSR04_TRIG_Pin
                           DIGIT_A0_Pin DIGIT_A1_Pin DIGIT_A2_Pin DIGIT_A3_Pin */
  GPIO_InitStruct.Pin = BLU_Pin|RED_Pin|GRN_Pin|HCSR04_TRIG_Pin
                          |DIGIT_A0_Pin|DIGIT_A1_Pin|DIGIT_A2_Pin|DIGIT_A3_Pin;
  GPIO_InitStruct.Mode = GPIO_MODE_OUTPUT_PP;
  GPIO_InitStruct.Pull = GPIO_NOPULL;
  GPIO_InitStruct.Speed = GPIO_SPEED_FREQ_LOW;
  HAL_GPIO_Init(GPIOB, &GPIO_InitStruct);

  /*Configure GPIO pins : DIGIT_B3_Pin DIGIT_B0_Pin DIGIT_B1_Pin DIGIT_B2_Pin */
  GPIO_InitStruct.Pin = DIGIT_B3_Pin|DIGIT_B0_Pin|DIGIT_B1_Pin|DIGIT_B2_Pin;
  GPIO_InitStruct.Mode = GPIO_MODE_OUTPUT_PP;
  GPIO_InitStruct.Pull = GPIO_NOPULL;
  GPIO_InitStruct.Speed = GPIO_SPEED_FREQ_LOW;
  HAL_GPIO_Init(GPIOC, &GPIO_InitStruct);

  /* EXTI interrupt init*/
  HAL_NVIC_SetPriority(EXTI2_IRQn, 0, 0);
  HAL_NVIC_EnableIRQ(EXTI2_IRQn);

}

/* USER CODE BEGIN 4 */
void HAL_UART_RxCpltCallback(UART_HandleTypeDef *huart) {
	if (huart->Instance == USART6)
	  {
	    if (rx_data == '\r') // ENTER key pressed
	    {
	      buffer[buffer_index] = '\0';
	      rcv_intpt_flag = 1;
	      buffer_index = 0; // Reset buffer index for next input
	      HAL_UART_Transmit(&huart6, (uint8_t *)"\r\n", 2, HAL_MAX_DELAY); // Echo newline
	    }
	    else
	    {
	      buffer[buffer_index++] = rx_data;
	      HAL_UART_Transmit(&huart6, &rx_data, 1, HAL_MAX_DELAY); // Echo the received character
	    }
	    HAL_UART_Receive_IT(&huart6, &rx_data, 1);
	  }
}

void HAL_TIM_PeriodElapsedCallback(TIM_HandleTypeDef *htim) {
	if ((htim->Instance == TIM5)) {
		wall_clock_hr_update_flag = 0;
		clock_secs += 1;

		if ((clock_secs == 60)) {
			clock_mins += 1;
			clock_secs = 0;

			if ((clock_mins == 60)) {
				clock_hours += 1;
				clock_mins = 0;
			}
			wall_clock_hr_update_flag = 1;
		}
	}
}

void HAL_TIM_IC_CaptureCallback(TIM_HandleTypeDef *htim) {
	if (htim->Instance == TIM10) {
		if (htim->Channel == 1) {
			if (first_edge == 0) {
				time_edge1 = HAL_TIM_ReadCapturedValue(htim, TIM_CHANNEL_1);
				first_edge = 1;
			} else {
				time_edge2 = HAL_TIM_ReadCapturedValue(htim, TIM_CHANNEL_1);
				__HAL_TIM_SET_COUNTER(htim, 0);
				hcsr04_Rx_flag = 1;
			}
		}
	}
}

void HAL_GPIO_EXTI_Callback(uint16_t GPIO_Pin) {
	if (GPIO_Pin == RPM_TICK_Pin) {
		rpm_tick_count += 1;
	}
}
/* USER CODE END 4 */

void Error_Handler(void)
{
  __disable_irq();
  while (1)
  {
  }
}
